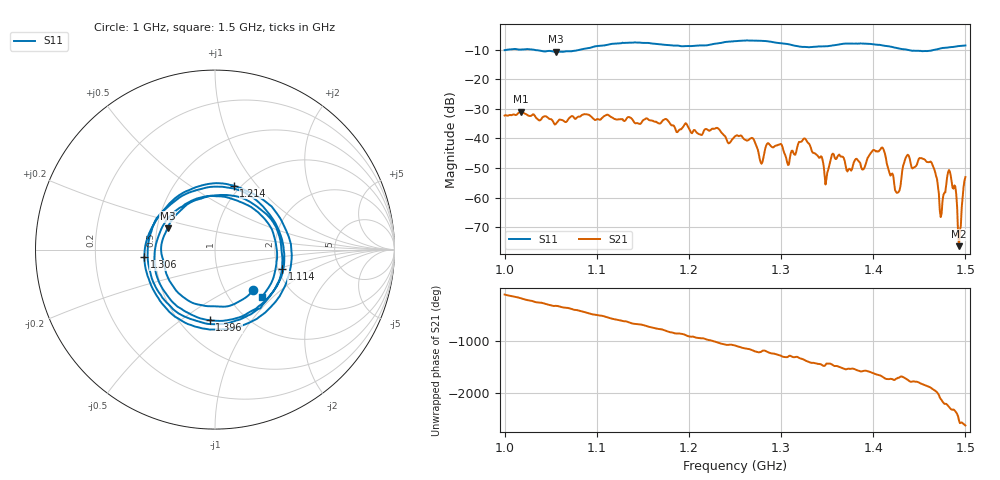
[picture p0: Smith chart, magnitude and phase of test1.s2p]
# HZ S RI R 50
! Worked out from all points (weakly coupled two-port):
!   505 points, 1 GHz to 1.5 GHz, reference 50 ohm
!   highest |S21| = -31.04 dB at 1.018 GHz (marker M1); lowest = -76.4 dB at 1.493 GHz (marker M2)
!   lowest |S11| = -10.8 dB at 1.056 GHz (marker M3), VSWR 1.82, Z = 28.4 + j7.33 ohm
!   |S11| at or under -10 dB: start of sweep to 1.003016 GHz; 1.031 GHz to 1.083 GHz (51.74 MHz wide, 4.9 % of centre); 1.436 GHz to 1.468 GHz (31.85 MHz wide, 2.19 % of centre) (the widest 3 of 4)
!   S12 and S22 are empty: the file has one direction only
!   S11 on the Smith chart (normalised r, x): 1 GHz: 1.35, -0.67; 1.114 GHz: 2.10, -0.54; 1.214 GHz: 0.93, +0.77; 1.306 GHz: 0.43, -0.04; 1.396 GHz: 0.70, -0.65; 1.5 GHz: 1.41, -0.86
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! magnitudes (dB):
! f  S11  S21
! 1 GHz  -10.2  -32.3
! 1.018 GHz  -10.0  -31.0
! 1.056 GHz  -10.8  -35.1
! 1.083 GHz  -9.9  -32.3
! 1.114 GHz  -8.2  -32.5
! 1.167 GHz  -8.2  -34.9
! 1.214 GHz  -8.6  -38.8
! 1.25 GHz  -7.2  -39.3
! 1.306 GHz  -8.1  -46.7
! 1.333 GHz  -9.1  -44.3
! 1.349 GHz  -8.9  -53.7
! 1.356 GHz  -8.6  -45.2
! 1.396 GHz  -8.1  -45.7
! 1.41 GHz  -8.6  -43.1
! 1.417 GHz  -8.9  -50.7
! 1.427 GHz  -9.5  -58.4
! 1.437 GHz  -10.0  -45.9
! 1.462 GHz  -10.4  -47.8
! 1.474 GHz  -9.5  -65.4
! 1.482 GHz  -9.3  -50.7
! 1.493 GHz  -8.8  -76.4
! 1.5 GHz  -8.6  -53.1
